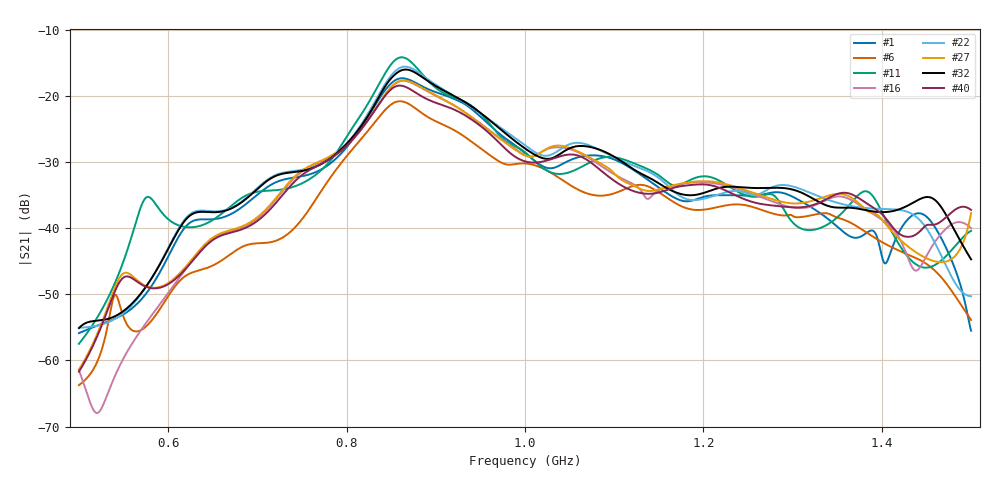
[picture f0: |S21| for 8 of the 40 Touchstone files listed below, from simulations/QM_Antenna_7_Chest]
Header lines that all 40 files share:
! TOUCHSTONE file generated by CST MICROWAVE STUDIO
! Header version: 2018
! Port assignment regex: !\s*Touchstone port\s*([0-9]+)\s*=\s*(CST MWS port|CST DS port)\s*([0-9]+|Zmin|Zmax)\s*\(\"(.*)\"\)(\s*mode\s*([0-9]+))?.*
! Touchstone port assignment:
! Touchstone port 1 = CST MWS port 1 ("")
! Touchstone port 2 = CST MWS port 2 ("")
# GHz S DB R 50
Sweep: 500 MHz to 1.5 GHz
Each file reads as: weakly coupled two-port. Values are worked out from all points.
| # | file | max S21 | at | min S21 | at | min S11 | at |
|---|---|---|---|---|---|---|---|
| 1 | 14_2.s2p | -17.34 dB | 862 MHz | -55.9 dB | 500 MHz | -29.8 dB | 1.301 GHz |
| 2 | 14_3.s2p | -18.31 dB | 860 MHz | -61.8 dB | 500 MHz | -23.3 dB | 1.24 GHz |
| 3 | 15_1.s2p | -16.40 dB | 864 MHz | -58.2 dB | 500 MHz | -30.2 dB | 1.38 GHz |
| 4 | 15_2.s2p | -16.94 dB | 862 MHz | -55.7 dB | 500 MHz | -33.6 dB | 1.3 GHz |
| 5 | 15_4.s2p | -19.65 dB | 860 MHz | -61.3 dB | 500 MHz | -33.1 dB | 1.303 GHz |
| 6 | 15_5.s2p | -20.81 dB | 860 MHz | -63.7 dB | 500 MHz | -45.8 dB | 1.255 GHz |
| 7 | 16_1.s2p | -15.10 dB | 864 MHz | -57.8 dB | 500 MHz | -25.7 dB | 1.38 GHz |
| 8 | 16_2.s2p | -16.45 dB | 864 MHz | -55.5 dB | 500 MHz | -40.6 dB | 1.3 GHz |
| 9 | 16_5.s2p | -20.76 dB | 861 MHz | -63.7 dB | 500 MHz | -50.2 dB | 1.254 GHz |
| 10 | 16_6.s2p | -22.05 dB | 859 MHz | -63.6 dB | 500 MHz | -29.6 dB | 788 MHz |
| 11 | 17_1.s2p | -14.17 dB | 862 MHz | -57.5 dB | 500 MHz | -22.3 dB | 1.38 GHz |
| 12 | 17_2.s2p | -16.06 dB | 865 MHz | -55.4 dB | 500 MHz | -49.2 dB | 1.299 GHz |
| 13 | 17_4.s2p | -19.54 dB | 861 MHz | -60.9 dB | 500 MHz | -32.2 dB | 1.301 GHz |
| 14 | 17_6.s2p | -22.10 dB | 859 MHz | -63.5 dB | 500 MHz | -28.0 dB | 788 MHz |
| 15 | 18_2.s2p | -15.82 dB | 865 MHz | -57.5 dB | 1.473 GHz | -49.6 dB | 1.299 GHz |
| 16 | 18_3.s2p | -17.71 dB | 864 MHz | -67.9 dB | 520 MHz | -24.5 dB | 1.237 GHz |
| 17 | 18_5.s2p | -20.84 dB | 861 MHz | -74.9 dB | 534 MHz | -38.2 dB | 1.254 GHz |
| 18 | 18_6.s2p | -22.12 dB | 860 MHz | -63.3 dB | 500 MHz | -26.9 dB | 788 MHz |
| 19 | 19_2.s2p | -15.66 dB | 865 MHz | -56.0 dB | 520 MHz | -37.0 dB | 1.299 GHz |
| 20 | 19_4.s2p | -19.40 dB | 862 MHz | -60.8 dB | 500 MHz | -33.7 dB | 1.3 GHz |
| 21 | 19_6.s2p | -22.12 dB | 858 MHz | -63.3 dB | 500 MHz | -26.7 dB | 788 MHz |
| 22 | 20_2.s2p | -15.58 dB | 866 MHz | -55.0 dB | 500 MHz | -47.8 dB | 1.299 GHz |
| 23 | 20_3.s2p | -17.68 dB | 864 MHz | -61.4 dB | 500 MHz | -24.9 dB | 1.237 GHz |
| 24 | 20_4.s2p | -19.42 dB | 861 MHz | -60.7 dB | 500 MHz | -32.1 dB | 1.3 GHz |
| 25 | 20_5.s2p | -20.83 dB | 859 MHz | -63.5 dB | 500 MHz | -35.5 dB | 1.254 GHz |
| 26 | 21_2.s2p | -15.65 dB | 866.5 MHz | -55.7 dB | 520 MHz | -43.9 dB | 1.299 GHz |
| 27 | 21_3.s2p | -17.66 dB | 864 MHz | -61.4 dB | 500 MHz | -24.4 dB | 1.238 GHz |
| 28 | 21_4.s2p | -19.34 dB | 862 MHz | -60.7 dB | 500 MHz | -36.6 dB | 1.299 GHz |
| 29 | 22_2.s2p | -15.75 dB | 865 MHz | -55.1 dB | 500 MHz | -35.2 dB | 1.3 GHz |
| 30 | 22_3.s2p | -17.72 dB | 865 MHz | -61.4 dB | 500 MHz | -23.8 dB | 1.238 GHz |
| 31 | 22_5.s2p | -20.81 dB | 860 MHz | -63.5 dB | 500 MHz | -35.9 dB | 1.255 GHz |
| 32 | 23_2.s2p | -16.02 dB | 866.5 MHz | -55.1 dB | 500 MHz | -30.5 dB | 1.3 GHz |
| 33 | 23_4.s2p | -19.14 dB | 868 MHz | -60.8 dB | 500 MHz | -31.1 dB | 1.299 GHz |
| 34 | 23_6.s2p | -22.12 dB | 858 MHz | -63.3 dB | 500 MHz | -26.7 dB | 788 MHz |
| 35 | 24_2.s2p | -16.43 dB | 865 MHz | -55.2 dB | 500 MHz | -25.7 dB | 1.3 GHz |
| 36 | 24_6.s2p | -22.12 dB | 860 MHz | -63.3 dB | 500 MHz | -26.9 dB | 788 MHz |
| 37 | 25_2.s2p | -16.85 dB | 866 MHz | -55.3 dB | 500 MHz | -24.3 dB | 1.301 GHz |
| 38 | 26_1.s2p | -13.40 dB | 862 MHz | -72.0 dB | 1.447 GHz | -19.2 dB | 1.375 GHz |
| 39 | 26_2.s2p | -17.25 dB | 866 MHz | -55.5 dB | 500 MHz | -22.4 dB | 1.301 GHz |
| 40 | 26_3.s2p | -18.45 dB | 860 MHz | -61.7 dB | 500 MHz | -19.9 dB | 1.242 GHz |
